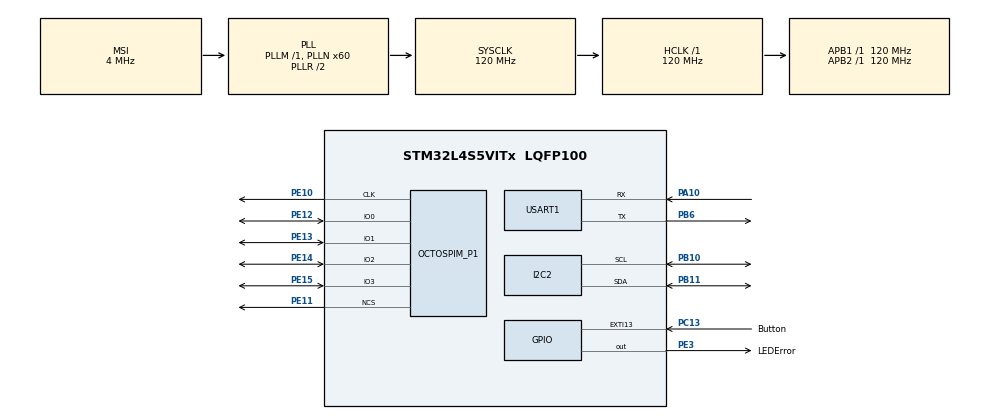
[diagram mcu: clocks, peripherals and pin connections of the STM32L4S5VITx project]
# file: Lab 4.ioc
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FREERTOS.Tasks01=taskReadSensor,0,256,StartTaskReadSensor,Default,NULL,Dynamic,NULL,NULL;taskBtnInput,0,256,StartTaskBtnInput,Default,NULL,Dynamic,NULL,NULL;taskTransmit,0,256,StartTaskTransmit,Default,NULL,Dynamic,NULL,NULL
FREERTOS.configMINIMAL_STACK_SIZE=256
FREERTOS.configTOTAL_HEAP_SIZE=5000
I2C2.Timing=0x307075B1
Mcu.Family=STM32L4
Mcu.Name=STM32L4S5VITx
Mcu.Package=LQFP100
NVIC.EXTI15_10_IRQn=true\:5\:0\:false\:false\:true\:true\:true\:true\:true
NVIC.PriorityGroup=NVIC_PRIORITYGROUP_4
NVIC.TIM6_DAC_IRQn=true\:15\:0\:false\:false\:true\:false\:false\:true\:true
NVIC.TimeBase=TIM6_DAC_IRQn
NVIC.TimeBaseIP=TIM6
PA10.Mode=Asynchronous
PA10.Signal=USART1_RX
PB10.Mode=I2C
PB10.Signal=I2C2_SCL
PB11.Mode=I2C
PB11.Signal=I2C2_SDA
PB6.Mode=Asynchronous
PB6.Signal=USART1_TX
PC13.GPIO_Label=Button
PC13.Signal=GPXTI13
PE10.Mode=O1_P1_CLK
PE10.Signal=OCTOSPIM_P1_CLK
PE11.Mode=OCTOSPI1_Port1_NCS
PE11.Signal=OCTOSPIM_P1_NCS
PE12.Mode=OCTOSPI1_IOL_Port1L
PE12.Signal=OCTOSPIM_P1_IO0
PE13.Mode=OCTOSPI1_IOL_Port1L
PE13.Signal=OCTOSPIM_P1_IO1
PE14.Mode=OCTOSPI1_IOL_Port1L
PE14.Signal=OCTOSPIM_P1_IO2
PE15.Mode=OCTOSPI1_IOL_Port1L
PE15.Signal=OCTOSPIM_P1_IO3
PE3.GPIO_Label=LEDError
PE3.Signal=GPIO_Output
ProjectManager.HeapSize=0x200
ProjectManager.StackSize=0x400
ProjectManager.TargetToolchain=STM32CubeIDE
RCC.ADCFreq_Value=48000000
RCC.AHBFreq_Value=120000000
RCC.APB1Freq_Value=120000000
RCC.APB1TimFreq_Value=120000000
RCC.APB2Freq_Value=120000000
RCC.APB2TimFreq_Value=120000000
RCC.CortexFreq_Value=120000000
RCC.HCLKFreq_Value=120000000
RCC.HSE_VALUE=8000000
RCC.HSI48_VALUE=48000000
RCC.HSI_VALUE=16000000
RCC.LSE_VALUE=32768
RCC.MSI_VALUE=4000000
RCC.PLLN=60
RCC.PLLSAI1N=24
RCC.SYSCLKFreq_VALUE=120000000
RCC.SYSCLKSource=RCC_SYSCLKSOURCE_PLLCLK
RCC.USBFreq_Value=48000000
RCC.VCOOutputFreq_Value=240000000
USART1.VirtualMode-Asynchronous=VM_ASYNC
VP_FREERTOS_VS_CMSIS_V1.Mode=CMSIS_V1
VP_OCTOSPI1_VS_quad.Mode=quad_mode
VP_SYS_VS_tim6.Mode=TIM6
board=B-L4S5I-IOT01A

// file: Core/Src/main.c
/* USER CODE BEGIN Header */
/**
 ******************************************************************************
 * @file           : main.c
 * @brief          : Main program body
 ******************************************************************************
 * @attention
 *
 * Copyright (c) 2023 STMicroelectronics.
 * All rights reserved.
 *
 * This software is licensed under terms that can be found in the LICENSE file
 * in the root directory of this software component.
 * If no LICENSE file comes with this software, it is provided AS-IS.
 *
 ******************************************************************************
 */
/* USER CODE END Header */
#include "main.h"
#include "cmsis_os.h"

/* USER CODE BEGIN Includes */
#include <stdio.h>
#include <stdlib.h>
#include <string.h>
#include "stm32l4s5i_iot01.h"
#include "stm32l4s5i_iot01_hsensor.h"
#include "stm32l4s5i_iot01_tsensor.h"
#include "stm32l4s5i_iot01_psensor.h"
#include "stm32l4s5i_iot01_magneto.h"
#include "stm32l4s5i_iot01_nfctag.h"
#include "stm32l4s5i_iot01_qspi.h"
#include "stm32l4s5i_iot01_accelero.h"
#include "mx25r6435f.h"
#include "hts221.h"
#include "lis3mdl.h"
#include "lsm6dsl.h"
#include "lps22hb.h"
#include "hsensor.h"
#include "tsensor.h"

/* USER CODE END Includes */

I2C_HandleTypeDef hi2c2;

OSPI_HandleTypeDef hospi1;

UART_HandleTypeDef huart1;

osThreadId taskReadSensorHandle;
osThreadId taskBtnInputHandle;
osThreadId taskTransmitHandle;
/* USER CODE BEGIN PV */
int currentSensor = 0;
int statsPrinted = 0;
int numSensors = 5;
int buttonPressed = 0;
float temperature = 0.0;
float pressure = 0.0;
int16_t acceleroData[3] = {0}; // used to store x y z values
int16_t magnetoData[3] = {0};  // used to store x y z values

int16_t temperatureSamples[100] = {0}; // type should probably be float
int16_t pressureSamples[100] = {0};    // type should probably be float
int16_t acceleroSamples_x[100] = {0};
int16_t acceleroSamples_y[100] = {0};
int16_t acceleroSamples_z[100] = {0};
int16_t magnetoSamples_x[100] = {0};
int16_t magnetoSamples_y[100] = {0};
int16_t magnetoSamples_z[100] = {0};

uint32_t flash_address_temperature =		0x00000;
uint32_t flash_address_pressure =			0x04000;
uint32_t flash_address_accelerometer_x = 	0x08000;
uint32_t flash_address_accelerometer_y = 	0x0C000;
uint32_t flash_address_accelerometer_z = 	0x10000;
uint32_t flash_address_magnetometer_x =		0x14000;
uint32_t flash_address_magnetometer_y =		0x18000;
uint32_t flash_address_magnetometer_z =		0x1C000;
int samples = 0;
/* USER CODE END PV */

void SystemClock_Config(void);
static void MX_GPIO_Init(void);
static void MX_USART1_UART_Init(void);
static void MX_I2C2_Init(void);
static void MX_OCTOSPI1_Init(void);
void StartTaskReadSensor(void const * argument);
void StartTaskBtnInput(void const * argument);
void StartTaskTransmit(void const * argument);

/* USER CODE BEGIN PFP */
void HAL_GPIO_EXTI_Callback(uint16_t GPIO_Pin)
{
    if (GPIO_Pin == Button_Pin)
    {
        buttonPressed = 1;
    }
}
/* USER CODE END PFP */

/* USER CODE BEGIN 0 */

#define min(x, y) ((x) < (y) ? (x) : (y))
void computeStatistics(char* msg){
	if(BSP_QSPI_Read((uint8_t*) temperatureSamples, flash_address_temperature, sizeof(int16_t) * min(samples, 100)) != QSPI_OK)
		Error_Handler();
	if(BSP_QSPI_Read((uint8_t*) pressureSamples, flash_address_pressure, sizeof(int16_t) * min(samples, 100)) != QSPI_OK)
		Error_Handler();
	if(BSP_QSPI_Read((uint8_t*) acceleroSamples_x, flash_address_accelerometer_x, sizeof(int16_t) * min(samples, 100)) != QSPI_OK)
		Error_Handler();
	if(BSP_QSPI_Read((uint8_t*) acceleroSamples_y, flash_address_accelerometer_y, sizeof(int16_t) * min(samples, 100)) != QSPI_OK)
		Error_Handler();
	if(BSP_QSPI_Read((uint8_t*) acceleroSamples_z, flash_address_accelerometer_z, sizeof(int16_t) * min(samples, 100)) != QSPI_OK)
		Error_Handler();
	if(BSP_QSPI_Read((uint8_t*) magnetoSamples_x, flash_address_magnetometer_x, sizeof(int16_t) * min(samples, 100)) != QSPI_OK)
		Error_Handler();
	if(BSP_QSPI_Read((uint8_t*) magnetoSamples_y, flash_address_magnetometer_y, sizeof(int16_t) * min(samples, 100)) != QSPI_OK)
		Error_Handler();
	if(BSP_QSPI_Read((uint8_t*) magnetoSamples_z, flash_address_magnetometer_z, sizeof(int16_t) * min(samples, 100)) != QSPI_OK)
		Error_Handler();

	int avgTemp = 0;
	int avgPres = 0;
	int avgAccel_x = 0;
	int avgAccel_y = 0;
	int avgAccel_z = 0;
	int avgMagnet_x = 0;
	int avgMagnet_y = 0;
	int avgMagnet_z = 0;

	int varianceTemp = 0;
	int variancePres = 0;
	int varianceAccel_x = 0;
	int varianceAccel_y = 0;
	int varianceAccel_z = 0;
	int varianceMagnet_x = 0;
	int varianceMagnet_y = 0;
	int varianceMagnet_z = 0;

	for (int i = 0; i < min(samples, 100); i++) {
		avgTemp += temperatureSamples[i];
		avgPres += pressureSamples[i];
		avgAccel_x += acceleroSamples_x[i];
		avgAccel_y += acceleroSamples_y[i];
		avgAccel_z += acceleroSamples_z[i];
		avgMagnet_x += magnetoSamples_x[i];
		avgMagnet_y += magnetoSamples_y[i];
		avgMagnet_z += magnetoSamples_z[i];
	}

	avgTemp /= min(samples, 100);
	avgPres /= min(samples, 100);
	avgAccel_x /= min(samples, 100);
	avgAccel_y /= min(samples, 100);
	avgAccel_z /= min(samples, 100);
	avgMagnet_x /= min(samples, 100);
	avgMagnet_y /= min(samples, 100);
	avgMagnet_z /= min(samples, 100);

	for (int i = 0; i < min(samples, 100); i++) {
		int tempDiff = temperatureSamples[i] - avgTemp;
		int presDiff = pressureSamples[i] - avgPres;
		int accel_xDiff = acceleroSamples_x[i] - avgAccel_x;
		int accel_yDiff = acceleroSamples_y[i] - avgAccel_y;
		int accel_zDiff = acceleroSamples_z[i] - avgAccel_z;
		int magnet_xDiff = magnetoSamples_x[i] - avgMagnet_x;
		int magnet_yDiff = magnetoSamples_y[i] - avgMagnet_y;
		int magnet_zDiff = magnetoSamples_z[i] - avgMagnet_z;

		varianceTemp += tempDiff * tempDiff;
		variancePres += presDiff * presDiff;
		varianceAccel_x += accel_xDiff * accel_xDiff;
		varianceAccel_y += accel_yDiff * accel_yDiff;
		varianceAccel_z += accel_zDiff * accel_zDiff;
		varianceMagnet_x += magnet_xDiff * magnet_xDiff;
		varianceMagnet_y += magnet_yDiff * magnet_yDiff;
		varianceMagnet_z += magnet_zDiff * magnet_zDiff;
	}

	varianceTemp /= min(samples, 100);
	variancePres /= min(samples, 100);
	varianceAccel_x /= min(samples, 100);
	varianceAccel_y /= min(samples, 100);
	varianceAccel_z /= min(samples, 100);
	varianceMagnet_x /= min(samples, 100);
	varianceMagnet_y /= min(samples, 100);
	varianceMagnet_z /= min(samples, 100);

    sprintf(msg, "\r\nStatistics:\r\nSamples: %d\r\n\tTemperature:\r\n\t\tAverage: %d\r\n\t\tVariance: %d\r\n\r\n\tPressure:\r\n\t\tAverage: %d\r\n\t\tVariance: %d\r\n\r\n\tAccelerometer:\r\n\t\tAverage x: %d\r\n\t\tAverage y: %d\r\n\t\tAverage z: %d\r\n\t\tVariance x: %d\r\n\t\tVariance y: %d\r\n\t\tVariance z: %d\r\n\r\n\tMagnetometer:\r\n\t\tAverage x: %d\r\n\t\tAverage y: %d\r\n\t\tAverage z: %d\r\n\t\tVariance x: %d\r\n\t\tVariance y: %d\r\n\t\tVariance z: %d\r\n\r\n", min(samples, 100), avgTemp, varianceTemp, avgPres, variancePres, avgAccel_x, avgAccel_y, avgAccel_z, varianceAccel_x, varianceAccel_y, varianceAccel_z, avgMagnet_x, avgMagnet_y, avgMagnet_z, varianceMagnet_x, varianceMagnet_y, varianceMagnet_z);
}
/* USER CODE END 0 */

int main(void)
{

  /* MCU Configuration--------------------------------------------------------*/

  /* Reset of all peripherals, Initializes the Flash interface and the Systick. */
  HAL_Init();

  /* Configure the system clock */
  SystemClock_Config();

  /* Initialize all configured peripherals */
  MX_GPIO_Init();
  MX_USART1_UART_Init();
  MX_I2C2_Init();
  MX_OCTOSPI1_Init();
  /* USER CODE BEGIN 2 */
    BSP_QSPI_Init();
    BSP_HSENSOR_Init();
    BSP_TSENSOR_Init();
    BSP_PSENSOR_Init();
    BSP_ACCELERO_Init();
    BSP_MAGNETO_Init();

  /* USER CODE END 2 */

  /* Create the thread(s) */
  /* definition and creation of taskReadSensor */
  osThreadDef(taskReadSensor, StartTaskReadSensor, osPriorityNormal, 0, 256);
  taskReadSensorHandle = osThreadCreate(osThread(taskReadSensor), NULL);

  /* definition and creation of taskBtnInput */
  osThreadDef(taskBtnInput, StartTaskBtnInput, osPriorityNormal, 0, 256);
  taskBtnInputHandle = osThreadCreate(osThread(taskBtnInput), NULL);

  /* definition and creation of taskTransmit */
  osThreadDef(taskTransmit, StartTaskTransmit, osPriorityNormal, 0, 256);
  taskTransmitHandle = osThreadCreate(osThread(taskTransmit), NULL);

  /* Start scheduler */
  osKernelStart();

  /* We should never get here as control is now taken by the scheduler */
  /* Infinite loop */
  /* USER CODE BEGIN WHILE */

    while (1)
    {

        //	  float humidity = BSP_HSENSOR_ReadHumidity();
        //	  float temperature = BSP_TSENSOR_ReadTemp();
        //	  char* msg = calloc(1, sizeof(char) * 100);
        //	  sprintf(msg, "The humidity is: %.2f\r\nThe temperature is: %.2f\r\n", humidity, temperature);
        //	  HAL_Delay(500);
        //	  HAL_UART_Transmit(&huart1, msg, sizeof(char) * 100, 10000);

        //	  char* msg = calloc(1, sizeof(char) * 100);
        //	  int numSensors = 4;  // Number of sensors (humidity and temperature)
        //	  float sensorValue = 0.0;
        //	  char sensorName[20];
        //	  int16_t xyzData[3] = {0};
        //	  int xyzMsg=0;
        //	  switch (currentSensor) {
        //		  case 0:
        //			  sensorValue = BSP_HSENSOR_ReadHumidity();
        //			  strcpy(sensorName, "Humidity");
        //			  break;
        //		  case 1:
        //			  sensorValue = BSP_TSENSOR_ReadTemp();
        //			  strcpy(sensorName, "Temperature");
        //			  break;
        //		  case 2:
        //			  BSP_ACCELERO_AccGetXYZ(xyzData);
        //			  strcpy(sensorName, "Accelerometer");
        //			  xyzMsg=1;
        //			  break;
        //		  case 3:
        //			  BSP_MAGNETO_AccGetXYZ(xyzData);
        //			  strcpy(sensorName, "Magnetometer");
        //			  xyzMsg=1;
        //			  break;
        //	  }
        //	  if (xyzMsg==1){
        //		  sprintf(msg, "The %s values are: X: %d, Y: %d, Z: %d\r\n", sensorName, xyzData[0], xyzData[1], xyzData[2]);
        //	  }
        //
        //	  else {
        //		  sprintf(msg, "The %s is: %.2f\r\n", sensorName, sensorValue);
        //	  }
        //
        //	  HAL_UART_Transmit(&huart1, (uint8_t*)msg, strlen(msg), HAL_MAX_DELAY);
        //
        //	  currentSensor = (currentSensor + 1) % numSensors;// Increment the currentSensor variable and wrap around
        //
        //	  HAL_Delay(500);
        //  }

    /* USER CODE END WHILE */

    }
}

void SystemClock_Config(void)
{
  RCC_OscInitTypeDef RCC_OscInitStruct = {0};
  RCC_ClkInitTypeDef RCC_ClkInitStruct = {0};

  /** Configure the main internal regulator output voltage
  */
  if (HAL_PWREx_ControlVoltageScaling(PWR_REGULATOR_VOLTAGE_SCALE1_BOOST) != HAL_OK)
  {
    Error_Handler();
  }

  /** Initializes the RCC Oscillators according to the specified parameters
  * in the RCC_OscInitTypeDef structure.
  */
  RCC_OscInitStruct.OscillatorType = RCC_OSCILLATORTYPE_MSI;
  RCC_OscInitStruct.MSIState = RCC_MSI_ON;
  RCC_OscInitStruct.MSICalibrationValue = 0;
  RCC_OscInitStruct.MSIClockRange = RCC_MSIRANGE_6;
  RCC_OscInitStruct.PLL.PLLState = RCC_PLL_ON;
  RCC_OscInitStruct.PLL.PLLSource = RCC_PLLSOURCE_MSI;
  RCC_OscInitStruct.PLL.PLLM = 1;
  RCC_OscInitStruct.PLL.PLLN = 60;
  RCC_OscInitStruct.PLL.PLLP = RCC_PLLP_DIV2;
  RCC_OscInitStruct.PLL.PLLQ = RCC_PLLQ_DIV2;
  RCC_OscInitStruct.PLL.PLLR = RCC_PLLR_DIV2;
  if (HAL_RCC_OscConfig(&RCC_OscInitStruct) != HAL_OK)
  {
    Error_Handler();
  }

  /** Initializes the CPU, AHB and APB buses clocks
  */
  RCC_ClkInitStruct.ClockType = RCC_CLOCKTYPE_HCLK|RCC_CLOCKTYPE_SYSCLK
                              |RCC_CLOCKTYPE_PCLK1|RCC_CLOCKTYPE_PCLK2;
  RCC_ClkInitStruct.SYSCLKSource = RCC_SYSCLKSOURCE_PLLCLK;
  RCC_ClkInitStruct.AHBCLKDivider = RCC_SYSCLK_DIV1;
  RCC_ClkInitStruct.APB1CLKDivider = RCC_HCLK_DIV1;
  RCC_ClkInitStruct.APB2CLKDivider = RCC_HCLK_DIV1;

  if (HAL_RCC_ClockConfig(&RCC_ClkInitStruct, FLASH_LATENCY_5) != HAL_OK)
  {
    Error_Handler();
  }
}

static void MX_I2C2_Init(void)
{

  hi2c2.Instance = I2C2;
  hi2c2.Init.Timing = 0x307075B1;
  hi2c2.Init.OwnAddress1 = 0;
  hi2c2.Init.AddressingMode = I2C_ADDRESSINGMODE_7BIT;
  hi2c2.Init.DualAddressMode = I2C_DUALADDRESS_DISABLE;
  hi2c2.Init.OwnAddress2 = 0;
  hi2c2.Init.OwnAddress2Masks = I2C_OA2_NOMASK;
  hi2c2.Init.GeneralCallMode = I2C_GENERALCALL_DISABLE;
  hi2c2.Init.NoStretchMode = I2C_NOSTRETCH_DISABLE;
  if (HAL_I2C_Init(&hi2c2) != HAL_OK)
  {
    Error_Handler();
  }

  /** Configure Analogue filter
  */
  if (HAL_I2CEx_ConfigAnalogFilter(&hi2c2, I2C_ANALOGFILTER_ENABLE) != HAL_OK)
  {
    Error_Handler();
  }

  /** Configure Digital filter
  */
  if (HAL_I2CEx_ConfigDigitalFilter(&hi2c2, 0) != HAL_OK)
  {
    Error_Handler();
  }

}

static void MX_OCTOSPI1_Init(void)
{

  OSPIM_CfgTypeDef OSPIM_Cfg_Struct = {0};

  /* OCTOSPI1 parameter configuration*/
  hospi1.Instance = OCTOSPI1;
  hospi1.Init.FifoThreshold = 1;
  hospi1.Init.DualQuad = HAL_OSPI_DUALQUAD_DISABLE;
  hospi1.Init.MemoryType = HAL_OSPI_MEMTYPE_MICRON;
  hospi1.Init.DeviceSize = 32;
  hospi1.Init.ChipSelectHighTime = 1;
  hospi1.Init.FreeRunningClock = HAL_OSPI_FREERUNCLK_DISABLE;
  hospi1.Init.ClockMode = HAL_OSPI_CLOCK_MODE_0;
  hospi1.Init.ClockPrescaler = 1;
  hospi1.Init.SampleShifting = HAL_OSPI_SAMPLE_SHIFTING_NONE;
  hospi1.Init.DelayHoldQuarterCycle = HAL_OSPI_DHQC_DISABLE;
  hospi1.Init.ChipSelectBoundary = 0;
  hospi1.Init.DelayBlockBypass = HAL_OSPI_DELAY_BLOCK_BYPASSED;
  if (HAL_OSPI_Init(&hospi1) != HAL_OK)
  {
    Error_Handler();
  }
  OSPIM_Cfg_Struct.ClkPort = 1;
  OSPIM_Cfg_Struct.NCSPort = 1;
  OSPIM_Cfg_Struct.IOLowPort = HAL_OSPIM_IOPORT_1_LOW;
  if (HAL_OSPIM_Config(&hospi1, &OSPIM_Cfg_Struct, HAL_OSPI_TIMEOUT_DEFAULT_VALUE) != HAL_OK)
  {
    Error_Handler();
  }

}

static void MX_USART1_UART_Init(void)
{

  huart1.Instance = USART1;
  huart1.Init.BaudRate = 115200;
  huart1.Init.WordLength = UART_WORDLENGTH_8B;
  huart1.Init.StopBits = UART_STOPBITS_1;
  huart1.Init.Parity = UART_PARITY_NONE;
  huart1.Init.Mode = UART_MODE_TX_RX;
  huart1.Init.HwFlowCtl = UART_HWCONTROL_NONE;
  huart1.Init.OverSampling = UART_OVERSAMPLING_16;
  huart1.Init.OneBitSampling = UART_ONE_BIT_SAMPLE_DISABLE;
  huart1.Init.ClockPrescaler = UART_PRESCALER_DIV1;
  huart1.AdvancedInit.AdvFeatureInit = UART_ADVFEATURE_NO_INIT;
  if (HAL_UART_Init(&huart1) != HAL_OK)
  {
    Error_Handler();
  }
  if (HAL_UARTEx_SetTxFifoThreshold(&huart1, UART_TXFIFO_THRESHOLD_1_8) != HAL_OK)
  {
    Error_Handler();
  }
  if (HAL_UARTEx_SetRxFifoThreshold(&huart1, UART_RXFIFO_THRESHOLD_1_8) != HAL_OK)
  {
    Error_Handler();
  }
  if (HAL_UARTEx_DisableFifoMode(&huart1) != HAL_OK)
  {
    Error_Handler();
  }

}

static void MX_GPIO_Init(void)
{
  GPIO_InitTypeDef GPIO_InitStruct = {0};

  /* GPIO Ports Clock Enable */
  __HAL_RCC_GPIOE_CLK_ENABLE();
  __HAL_RCC_GPIOC_CLK_ENABLE();
  __HAL_RCC_GPIOB_CLK_ENABLE();
  __HAL_RCC_GPIOA_CLK_ENABLE();

  /*Configure GPIO pin Output Level */
  HAL_GPIO_WritePin(LEDError_GPIO_Port, LEDError_Pin, GPIO_PIN_RESET);

  /*Configure GPIO pin : LEDError_Pin */
  GPIO_InitStruct.Pin = LEDError_Pin;
  GPIO_InitStruct.Mode = GPIO_MODE_OUTPUT_PP;
  GPIO_InitStruct.Pull = GPIO_NOPULL;
  GPIO_InitStruct.Speed = GPIO_SPEED_FREQ_LOW;
  HAL_GPIO_Init(LEDError_GPIO_Port, &GPIO_InitStruct);

  /*Configure GPIO pin : Button_Pin */
  GPIO_InitStruct.Pin = Button_Pin;
  GPIO_InitStruct.Mode = GPIO_MODE_IT_RISING;
  GPIO_InitStruct.Pull = GPIO_NOPULL;
  HAL_GPIO_Init(Button_GPIO_Port, &GPIO_InitStruct);

  /* EXTI interrupt init*/
  HAL_NVIC_SetPriority(EXTI15_10_IRQn, 5, 0);
  HAL_NVIC_EnableIRQ(EXTI15_10_IRQn);

}

void StartTaskReadSensor(void const * argument)
{
  /* USER CODE BEGIN 5 */
    /* Infinite loop */
    for (;;)
    {
        osDelay(100);

        if(samples == 0){
        	if (BSP_QSPI_Erase_Block(flash_address_temperature) != QSPI_OK)
				Error_Handler();
			if (BSP_QSPI_Erase_Block(flash_address_accelerometer_z) != QSPI_OK)
				Error_Handler();
        }

        if(currentSensor == 4) continue;

        temperature = BSP_TSENSOR_ReadTemp();
        pressure = BSP_PSENSOR_ReadPressure();
        BSP_ACCELERO_AccGetXYZ(acceleroData);
        BSP_MAGNETO_GetXYZ(magnetoData);

        // =======Part 3==========
//        // erase
//		uint32_t blockAddress = 0x0;  // First address of first block of 64KB
//		if (BSP_QSPI_Erase_Block(blockAddress) != QSPI_OK) {
//			Error_Handler();
//		}
//		//write
//		uint32_t writeAddress = 0x0;  // First address of first block of 64KB
//		uint8_t data[] = { (uint8_t) temperature };  // Replace with your data
//		uint32_t dataSize = sizeof(data);
//		if (BSP_QSPI_Write(data, writeAddress, dataSize) != QSPI_OK) {
//			Error_Handler();
//		}
//
//		//read
//		uint32_t readAddress = 0x0;  // Replace with the address from where you want to read data
//		uint8_t readData[1];  // Adjust the array size according to your data size
//		if (BSP_QSPI_Read(readData, readAddress, sizeof(readData)) != QSPI_OK) {
//			Error_Handler();
//		}
//
//		// Transmit
//		char *msg = calloc(1, sizeof(char) * 100);
//		sprintf(msg, "The Temperature from FLASH is: %d\r\n", (int)readData[0]);
//		HAL_UART_Transmit(&huart1, (uint8_t *)msg, strlen(msg), HAL_MAX_DELAY);

        //=======Part 4==========

        // write
        uint32_t offset = samples * sizeof(int16_t);

        int16_t temperature_int = (int16_t) (temperature);
        if (BSP_QSPI_Write((uint8_t*) &temperature_int, flash_address_temperature + offset, sizeof(int16_t)) != QSPI_OK)
            Error_Handler();

        int16_t pressure_int = (int16_t) (pressure);
		if (BSP_QSPI_Write((uint8_t*) &pressure_int, flash_address_pressure + offset, sizeof(int16_t)) != QSPI_OK)
			Error_Handler();

		if (BSP_QSPI_Write((uint8_t*) &acceleroData[0], flash_address_accelerometer_x + offset, sizeof(int16_t)) != QSPI_OK)
			Error_Handler();
		if (BSP_QSPI_Write((uint8_t*) &acceleroData[1], flash_address_accelerometer_y + offset, sizeof(int16_t)) != QSPI_OK)
			Error_Handler();
		if (BSP_QSPI_Write((uint8_t*) &acceleroData[2], flash_address_accelerometer_z + offset, sizeof(int16_t)) != QSPI_OK)
			Error_Handler();

		if (BSP_QSPI_Write((uint8_t*) &magnetoData[0], flash_address_magnetometer_x + offset, sizeof(int16_t)) != QSPI_OK)
			Error_Handler();
		if (BSP_QSPI_Write((uint8_t*) &magnetoData[1], flash_address_magnetometer_y + offset, sizeof(int16_t)) != QSPI_OK)
			Error_Handler();
		if (BSP_QSPI_Write((uint8_t*) &magnetoData[2], flash_address_magnetometer_z + offset, sizeof(int16_t)) != QSPI_OK)
			Error_Handler();

        if(samples < 499)
        	samples++;
    }
  /* USER CODE END 5 */
}

void StartTaskBtnInput(void const * argument)
{
  /* USER CODE BEGIN StartTaskBtnInput */
    /* Infinite loop */
    for (;;)
    {
        osDelay(100);
        // task that determines when the button has been pressed,
        // and changes the mode of the application to output data
        // from the next sensor in the sequence;
        if (buttonPressed == 1)
        {
            currentSensor = (currentSensor + 1) % numSensors; // Increment the currentSensor variable and wrap around
            buttonPressed = 0;

            if(currentSensor == 0){
				samples = 0;
				statsPrinted = 0;
            }
        }
    }
  /* USER CODE END StartTaskBtnInput */
}

void StartTaskTransmit(void const * argument)
{
  /* USER CODE BEGIN StartTaskTransmit */
    /* Infinite loop */
    for (;;)
    {
        osDelay(500);
        //    ======Part 2==========
        // task that transmits this data to the terminal using the virtual com port UART;
        // and,
        char *msg = calloc(1, sizeof(char) * 1000);
        switch (currentSensor)
        {
        case 0:
            sprintf(msg, "The Temperature is: %d\r\n", (int)temperature);
            break;
        case 1:
            sprintf(msg, "The Pressure is: %d\r\n", (int)pressure);
            break;
        case 2:
            sprintf(msg, "The Accelerometer values are: X: %d, Y: %d, Z: %d\r\n", acceleroData[0], acceleroData[1], acceleroData[2]);
            break;
        case 3:
            sprintf(msg, "The Magnetometer values are: X: %d, Y: %d, Z: %d\r\n", magnetoData[0], magnetoData[1], magnetoData[2]);
            break;
        // ======== PART 4 BEGIN ========
        case 4:
        	if(!statsPrinted){
				computeStatistics(msg);
				statsPrinted = 1;
        	}
        	break;
		// ========= PART 4 END =========
        default:
            sprintf(msg, "Wrong sensor");
        }

        HAL_UART_Transmit(&huart1, (uint8_t *)msg, strlen(msg), HAL_MAX_DELAY);
    }

  /* USER CODE END StartTaskTransmit */
}

void HAL_TIM_PeriodElapsedCallback(TIM_HandleTypeDef *htim)
{
  if (htim->Instance == TIM6) {
    HAL_IncTick();
  }
}

void Error_Handler(void)
{
  /* USER CODE BEGIN Error_Handler_Debug */
    /* User can add his own implementation to report the HAL error return state */
    __disable_irq();
    while (1)
    {
        HAL_GPIO_WritePin(LEDError_GPIO_Port, LEDError_Pin, GPIO_PIN_RESET);
        __BKPT();
    }
  /* USER CODE END Error_Handler_Debug */
}
